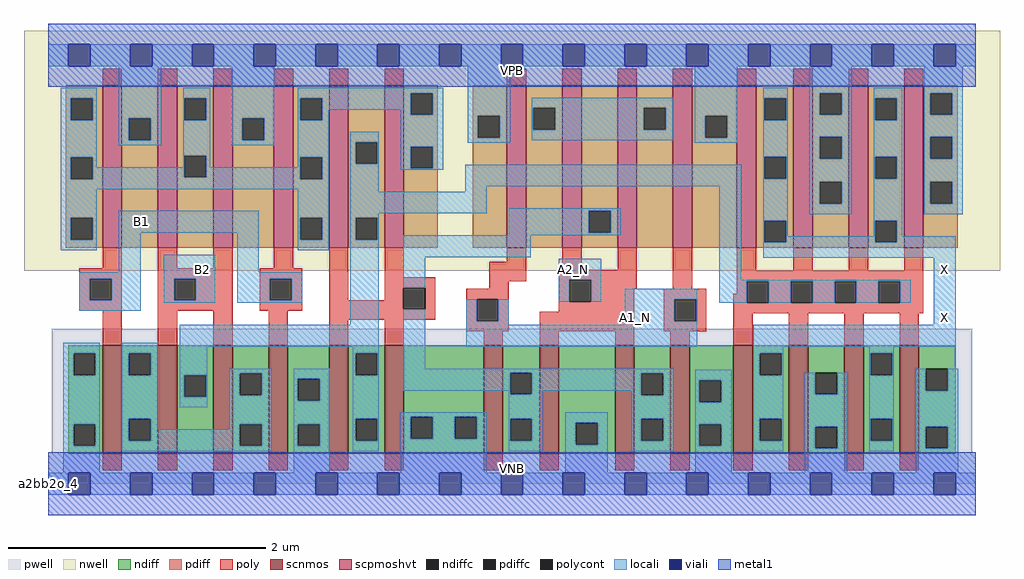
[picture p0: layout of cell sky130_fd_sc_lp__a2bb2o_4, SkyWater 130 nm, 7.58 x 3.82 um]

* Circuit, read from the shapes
.subckt sky130_fd_sc_lp__a2bb2o_4 A1_N A2_N B1 B2 VGND VNB VPB VPWR X
XM1 n1 B1 VGND VNB sky130_fd_pr__nfet_01v8 w=0.84 l=0.15 m=2
XM2 n2 B2 n1 VNB sky130_fd_pr__nfet_01v8 w=0.84 l=0.15 m=2
XM3 n2 n3 VGND VNB sky130_fd_pr__nfet_01v8 w=0.84 l=0.15 m=2
XM4 n3 A1_N VGND VNB sky130_fd_pr__nfet_01v8 w=0.84 l=0.15 m=2
XM5 VGND A2_N n3 VNB sky130_fd_pr__nfet_01v8 w=0.84 l=0.15 m=2
XM6 X n2 VGND VNB sky130_fd_pr__nfet_01v8 w=0.84 l=0.15 m=4
XM7 VPWR B1 n4 VPB sky130_fd_pr__pfet_01v8_hvt w=1.26 l=0.15 m=2
XM8 n4 B2 VPWR VPB sky130_fd_pr__pfet_01v8_hvt w=1.26 l=0.15 m=2
XM9 n2 n3 n4 VPB sky130_fd_pr__pfet_01v8_hvt w=1.26 l=0.15 m=2
XM10 n5 A1_N VPWR VPB sky130_fd_pr__pfet_01v8_hvt w=1.26 l=0.15 m=2
XM11 n3 A2_N n5 VPB sky130_fd_pr__pfet_01v8_hvt w=1.26 l=0.15 m=2
XM12 X n2 VPWR VPB sky130_fd_pr__pfet_01v8_hvt w=1.26 l=0.15 m=4
.ends

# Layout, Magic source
magic
tech sky130A
magscale 1 2
<< nwell >>
rect -38 331 1478 704
<< pwell >>
rect 5 49 1435 241
rect 0 0 1440 49
<< scnmos >>
rect 84 47 114 215
rect 170 47 200 215
rect 256 47 286 215
rect 342 47 372 215
rect 436 47 466 215
rect 522 47 552 215
rect 676 47 706 215
rect 763 47 793 215
rect 880 47 910 215
rect 966 47 996 215
rect 1064 47 1094 215
rect 1150 47 1180 215
rect 1236 47 1266 215
rect 1322 47 1352 215
<< scpmoshvt >>
rect 84 367 114 619
rect 170 367 200 619
rect 256 367 286 619
rect 350 367 380 619
rect 436 367 466 619
rect 522 367 552 619
rect 712 367 742 619
rect 798 367 828 619
rect 884 367 914 619
rect 970 367 1000 619
rect 1069 367 1099 619
rect 1157 367 1187 619
rect 1243 367 1273 619
rect 1329 367 1359 619
<< ndiff >>
rect 31 203 84 215
rect 31 169 39 203
rect 73 169 84 203
rect 31 93 84 169
rect 31 59 39 93
rect 73 59 84 93
rect 31 47 84 59
rect 114 203 170 215
rect 114 169 125 203
rect 159 169 170 203
rect 114 101 170 169
rect 114 67 125 101
rect 159 67 170 101
rect 114 47 170 67
rect 200 169 256 215
rect 200 135 211 169
rect 245 135 256 169
rect 200 47 256 135
rect 286 172 342 215
rect 286 138 297 172
rect 331 138 342 172
rect 286 93 342 138
rect 286 59 297 93
rect 331 59 342 93
rect 286 47 342 59
rect 372 163 436 215
rect 372 129 387 163
rect 421 129 436 163
rect 372 93 436 129
rect 372 59 387 93
rect 421 59 436 93
rect 372 47 436 59
rect 466 203 522 215
rect 466 169 477 203
rect 511 169 522 203
rect 466 101 522 169
rect 466 67 477 101
rect 511 67 522 101
rect 466 47 522 67
rect 552 104 676 215
rect 552 70 563 104
rect 597 70 631 104
rect 665 70 676 104
rect 552 47 676 70
rect 706 173 763 215
rect 706 139 717 173
rect 751 139 763 173
rect 706 101 763 139
rect 706 67 717 101
rect 751 67 763 101
rect 706 47 763 67
rect 793 95 880 215
rect 793 61 819 95
rect 853 61 880 95
rect 793 47 880 61
rect 910 172 966 215
rect 910 138 921 172
rect 955 138 966 172
rect 910 101 966 138
rect 910 67 921 101
rect 955 67 966 101
rect 910 47 966 67
rect 996 161 1064 215
rect 996 127 1011 161
rect 1045 127 1064 161
rect 996 93 1064 127
rect 996 59 1011 93
rect 1045 59 1064 93
rect 996 47 1064 59
rect 1094 203 1150 215
rect 1094 169 1105 203
rect 1139 169 1150 203
rect 1094 101 1150 169
rect 1094 67 1105 101
rect 1139 67 1150 101
rect 1094 47 1150 67
rect 1180 173 1236 215
rect 1180 139 1191 173
rect 1225 139 1236 173
rect 1180 89 1236 139
rect 1180 55 1191 89
rect 1225 55 1236 89
rect 1180 47 1236 55
rect 1266 203 1322 215
rect 1266 169 1277 203
rect 1311 169 1322 203
rect 1266 101 1322 169
rect 1266 67 1277 101
rect 1311 67 1322 101
rect 1266 47 1322 67
rect 1352 179 1409 215
rect 1352 145 1363 179
rect 1397 145 1409 179
rect 1352 89 1409 145
rect 1352 55 1363 89
rect 1397 55 1409 89
rect 1352 47 1409 55
<< pdiff >>
rect 27 599 84 619
rect 27 565 35 599
rect 69 565 84 599
rect 27 507 84 565
rect 27 473 35 507
rect 69 473 84 507
rect 27 413 84 473
rect 27 379 35 413
rect 69 379 84 413
rect 27 367 84 379
rect 114 568 170 619
rect 114 534 125 568
rect 159 534 170 568
rect 114 367 170 534
rect 200 599 256 619
rect 200 565 211 599
rect 245 565 256 599
rect 200 510 256 565
rect 200 476 211 510
rect 245 476 256 510
rect 200 367 256 476
rect 286 568 350 619
rect 286 534 301 568
rect 335 534 350 568
rect 286 367 350 534
rect 380 599 436 619
rect 380 565 391 599
rect 425 565 436 599
rect 380 507 436 565
rect 380 473 391 507
rect 425 473 436 507
rect 380 413 436 473
rect 380 379 391 413
rect 425 379 436 413
rect 380 367 436 379
rect 466 531 522 619
rect 466 497 477 531
rect 511 497 522 531
rect 466 413 522 497
rect 466 379 477 413
rect 511 379 522 413
rect 466 367 522 379
rect 552 607 605 619
rect 552 573 563 607
rect 597 573 605 607
rect 552 524 605 573
rect 552 490 563 524
rect 597 490 605 524
rect 552 367 605 490
rect 659 572 712 619
rect 659 538 667 572
rect 701 538 712 572
rect 659 367 712 538
rect 742 584 798 619
rect 742 550 753 584
rect 787 550 798 584
rect 742 367 798 550
rect 828 424 884 619
rect 828 390 839 424
rect 873 390 884 424
rect 828 367 884 390
rect 914 584 970 619
rect 914 550 925 584
rect 959 550 970 584
rect 914 367 970 550
rect 1000 572 1069 619
rect 1000 538 1020 572
rect 1054 538 1069 572
rect 1000 367 1069 538
rect 1099 599 1157 619
rect 1099 565 1112 599
rect 1146 565 1157 599
rect 1099 508 1157 565
rect 1099 474 1112 508
rect 1146 474 1157 508
rect 1099 409 1157 474
rect 1099 375 1112 409
rect 1146 375 1157 409
rect 1099 367 1157 375
rect 1187 607 1243 619
rect 1187 573 1198 607
rect 1232 573 1243 607
rect 1187 539 1243 573
rect 1187 505 1198 539
rect 1232 505 1243 539
rect 1187 469 1243 505
rect 1187 435 1198 469
rect 1232 435 1243 469
rect 1187 367 1243 435
rect 1273 599 1329 619
rect 1273 565 1284 599
rect 1318 565 1329 599
rect 1273 508 1329 565
rect 1273 474 1284 508
rect 1318 474 1329 508
rect 1273 409 1329 474
rect 1273 375 1284 409
rect 1318 375 1329 409
rect 1273 367 1329 375
rect 1359 607 1412 619
rect 1359 573 1370 607
rect 1404 573 1412 607
rect 1359 539 1412 573
rect 1359 505 1370 539
rect 1404 505 1412 539
rect 1359 469 1412 505
rect 1359 435 1370 469
rect 1404 435 1412 469
rect 1359 367 1412 435
<< ndiffc >>
rect 39 169 73 203
rect 39 59 73 93
rect 125 169 159 203
rect 125 67 159 101
rect 211 135 245 169
rect 297 138 331 172
rect 297 59 331 93
rect 387 129 421 163
rect 387 59 421 93
rect 477 169 511 203
rect 477 67 511 101
rect 563 70 597 104
rect 631 70 665 104
rect 717 139 751 173
rect 717 67 751 101
rect 819 61 853 95
rect 921 138 955 172
rect 921 67 955 101
rect 1011 127 1045 161
rect 1011 59 1045 93
rect 1105 169 1139 203
rect 1105 67 1139 101
rect 1191 139 1225 173
rect 1191 55 1225 89
rect 1277 169 1311 203
rect 1277 67 1311 101
rect 1363 145 1397 179
rect 1363 55 1397 89
<< pdiffc >>
rect 35 565 69 599
rect 35 473 69 507
rect 35 379 69 413
rect 125 534 159 568
rect 211 565 245 599
rect 211 476 245 510
rect 301 534 335 568
rect 391 565 425 599
rect 391 473 425 507
rect 391 379 425 413
rect 477 497 511 531
rect 477 379 511 413
rect 563 573 597 607
rect 563 490 597 524
rect 667 538 701 572
rect 753 550 787 584
rect 839 390 873 424
rect 925 550 959 584
rect 1020 538 1054 572
rect 1112 565 1146 599
rect 1112 474 1146 508
rect 1112 375 1146 409
rect 1198 573 1232 607
rect 1198 505 1232 539
rect 1198 435 1232 469
rect 1284 565 1318 599
rect 1284 474 1318 508
rect 1284 375 1318 409
rect 1370 573 1404 607
rect 1370 505 1404 539
rect 1370 435 1404 469
<< poly >>
rect 84 619 114 645
rect 170 619 200 645
rect 256 619 286 645
rect 350 619 380 645
rect 436 619 466 645
rect 522 619 552 645
rect 712 619 742 645
rect 798 619 828 645
rect 884 619 914 645
rect 970 619 1000 645
rect 1069 619 1099 645
rect 1157 619 1187 645
rect 1243 619 1273 645
rect 1329 619 1359 645
rect 84 335 114 367
rect 48 319 114 335
rect 48 285 64 319
rect 98 285 114 319
rect 48 269 114 285
rect 84 215 114 269
rect 170 335 200 367
rect 256 335 286 367
rect 350 335 380 367
rect 170 319 286 335
rect 170 285 195 319
rect 229 285 286 319
rect 170 269 286 285
rect 328 319 394 335
rect 328 285 344 319
rect 378 285 394 319
rect 328 269 394 285
rect 436 285 466 367
rect 522 321 552 367
rect 712 345 742 367
rect 522 305 601 321
rect 522 285 551 305
rect 436 271 551 285
rect 585 271 601 305
rect 685 315 742 345
rect 798 333 828 367
rect 884 333 914 367
rect 793 317 914 333
rect 685 303 715 315
rect 170 215 200 269
rect 256 215 286 269
rect 342 215 372 269
rect 436 255 601 271
rect 649 287 715 303
rect 436 215 466 255
rect 522 215 552 255
rect 649 253 665 287
rect 699 253 715 287
rect 793 283 809 317
rect 843 303 914 317
rect 970 303 1000 367
rect 1069 331 1099 367
rect 1157 331 1187 367
rect 1243 331 1273 367
rect 1329 331 1359 367
rect 1069 315 1359 331
rect 843 283 910 303
rect 793 267 910 283
rect 649 237 715 253
rect 763 237 910 267
rect 956 287 1022 303
rect 1069 295 1085 315
rect 956 253 972 287
rect 1006 253 1022 287
rect 956 237 1022 253
rect 1064 281 1085 295
rect 1119 281 1153 315
rect 1187 281 1221 315
rect 1255 281 1289 315
rect 1323 281 1359 315
rect 1064 265 1359 281
rect 676 215 706 237
rect 763 215 793 237
rect 880 215 910 237
rect 966 215 996 237
rect 1064 215 1094 265
rect 1150 215 1180 265
rect 1236 215 1266 265
rect 1322 215 1352 265
rect 84 21 114 47
rect 170 21 200 47
rect 256 21 286 47
rect 342 21 372 47
rect 436 21 466 47
rect 522 21 552 47
rect 676 21 706 47
rect 763 21 793 47
rect 880 21 910 47
rect 966 21 996 47
rect 1064 21 1094 47
rect 1150 21 1180 47
rect 1236 21 1266 47
rect 1322 21 1352 47
<< polycont >>
rect 64 285 98 319
rect 195 285 229 319
rect 344 285 378 319
rect 551 271 585 305
rect 665 253 699 287
rect 809 283 843 317
rect 972 253 1006 287
rect 1085 281 1119 315
rect 1153 281 1187 315
rect 1221 281 1255 315
rect 1289 281 1323 315
<< locali >>
rect 0 649 31 683
rect 65 649 127 683
rect 161 649 223 683
rect 257 649 319 683
rect 353 649 415 683
rect 449 649 511 683
rect 545 649 607 683
rect 641 649 703 683
rect 737 649 799 683
rect 833 649 895 683
rect 929 649 991 683
rect 1025 649 1087 683
rect 1121 649 1183 683
rect 1217 649 1279 683
rect 1313 649 1375 683
rect 1409 649 1440 683
rect 19 599 75 615
rect 19 565 35 599
rect 69 565 75 599
rect 19 507 75 565
rect 109 568 175 649
rect 109 534 125 568
rect 159 534 175 568
rect 109 526 175 534
rect 209 599 251 615
rect 209 565 211 599
rect 245 565 251 599
rect 19 473 35 507
rect 69 492 75 507
rect 209 510 251 565
rect 285 568 351 649
rect 285 534 301 568
rect 335 534 351 568
rect 285 526 351 534
rect 387 607 613 615
rect 387 599 563 607
rect 387 565 391 599
rect 425 581 563 599
rect 425 565 435 581
rect 209 492 211 510
rect 69 476 211 492
rect 245 492 251 510
rect 387 507 435 565
rect 547 573 563 581
rect 597 573 613 607
rect 387 492 391 507
rect 245 476 391 492
rect 69 473 391 476
rect 425 473 435 507
rect 19 458 435 473
rect 19 413 75 458
rect 19 379 35 413
rect 69 379 75 413
rect 19 363 75 379
rect 109 390 327 424
rect 109 329 143 390
rect 48 319 143 329
rect 48 285 64 319
rect 98 285 143 319
rect 48 269 143 285
rect 179 319 259 356
rect 179 285 195 319
rect 229 285 259 319
rect 179 281 259 285
rect 293 329 327 390
rect 387 413 435 458
rect 387 379 391 413
rect 425 379 435 413
rect 387 363 435 379
rect 469 531 513 547
rect 469 497 477 531
rect 511 497 513 531
rect 469 454 513 497
rect 547 524 613 573
rect 651 572 717 649
rect 651 538 667 572
rect 701 538 717 572
rect 651 530 717 538
rect 751 584 970 600
rect 751 550 753 584
rect 787 550 925 584
rect 959 550 970 584
rect 751 534 970 550
rect 1004 572 1070 649
rect 1004 538 1020 572
rect 1054 538 1070 572
rect 1004 530 1070 538
rect 1110 599 1148 615
rect 1110 565 1112 599
rect 1146 565 1148 599
rect 547 490 563 524
rect 597 490 613 524
rect 1110 508 1148 565
rect 547 488 613 490
rect 647 462 1076 496
rect 647 454 681 462
rect 469 420 681 454
rect 715 424 889 428
rect 469 413 513 420
rect 469 379 477 413
rect 511 379 513 413
rect 715 390 839 424
rect 873 390 889 424
rect 715 386 889 390
rect 293 319 394 329
rect 293 285 344 319
rect 378 285 394 319
rect 293 281 394 285
rect 469 247 513 379
rect 23 203 80 219
rect 23 169 39 203
rect 73 169 80 203
rect 23 93 80 169
rect 23 59 39 93
rect 73 59 80 93
rect 23 17 80 59
rect 114 203 170 219
rect 114 169 125 203
rect 159 169 170 203
rect 114 101 170 169
rect 204 213 513 247
rect 204 169 247 213
rect 473 203 513 213
rect 204 135 211 169
rect 245 135 247 169
rect 204 119 247 135
rect 281 172 347 179
rect 281 138 297 172
rect 331 138 347 172
rect 114 67 125 101
rect 159 85 170 101
rect 281 93 347 138
rect 281 85 297 93
rect 159 67 297 85
rect 114 59 297 67
rect 331 59 347 93
rect 114 51 347 59
rect 381 163 437 179
rect 381 129 387 163
rect 421 129 437 163
rect 381 93 437 129
rect 381 59 387 93
rect 421 59 437 93
rect 381 17 437 59
rect 473 169 477 203
rect 511 169 513 203
rect 473 101 513 169
rect 551 352 749 386
rect 551 305 585 352
rect 793 317 859 350
rect 551 179 585 271
rect 649 253 665 287
rect 699 253 715 287
rect 793 283 809 317
rect 843 283 859 317
rect 1042 317 1076 462
rect 1110 474 1112 508
rect 1146 474 1148 508
rect 1110 409 1148 474
rect 1182 607 1248 649
rect 1182 573 1198 607
rect 1232 573 1248 607
rect 1182 539 1248 573
rect 1182 505 1198 539
rect 1232 505 1248 539
rect 1182 469 1248 505
rect 1182 435 1198 469
rect 1232 435 1248 469
rect 1182 419 1248 435
rect 1282 599 1326 615
rect 1282 565 1284 599
rect 1318 565 1326 599
rect 1282 508 1326 565
rect 1282 474 1284 508
rect 1318 474 1326 508
rect 1110 375 1112 409
rect 1146 385 1148 409
rect 1282 409 1326 474
rect 1360 607 1420 649
rect 1360 573 1370 607
rect 1404 573 1420 607
rect 1360 539 1420 573
rect 1360 505 1370 539
rect 1404 505 1420 539
rect 1360 469 1420 505
rect 1360 435 1370 469
rect 1404 435 1420 469
rect 1360 419 1420 435
rect 1282 385 1284 409
rect 1146 375 1284 385
rect 1318 385 1326 409
rect 1318 375 1409 385
rect 1110 351 1409 375
rect 1042 315 1339 317
rect 895 287 1008 303
rect 649 247 715 253
rect 895 253 972 287
rect 1006 253 1008 287
rect 1042 281 1085 315
rect 1119 281 1153 315
rect 1187 281 1221 315
rect 1255 281 1289 315
rect 1323 281 1339 315
rect 895 247 1008 253
rect 1375 247 1409 351
rect 649 213 1008 247
rect 1095 213 1409 247
rect 1095 203 1141 213
rect 551 173 971 179
rect 551 145 717 173
rect 715 139 717 145
rect 751 172 971 173
rect 751 145 921 172
rect 751 139 767 145
rect 473 67 477 101
rect 511 67 513 101
rect 473 51 513 67
rect 547 104 681 111
rect 547 70 563 104
rect 597 70 631 104
rect 665 70 681 104
rect 547 17 681 70
rect 715 101 767 139
rect 905 138 921 145
rect 955 138 971 172
rect 715 67 717 101
rect 751 67 767 101
rect 715 51 767 67
rect 803 95 869 111
rect 803 61 819 95
rect 853 61 869 95
rect 803 17 869 61
rect 905 101 971 138
rect 905 67 921 101
rect 955 67 971 101
rect 905 51 971 67
rect 1005 161 1061 177
rect 1005 127 1011 161
rect 1045 127 1061 161
rect 1005 93 1061 127
rect 1005 59 1011 93
rect 1045 59 1061 93
rect 1005 17 1061 59
rect 1095 169 1105 203
rect 1139 169 1141 203
rect 1275 203 1313 213
rect 1095 101 1141 169
rect 1095 67 1105 101
rect 1139 67 1141 101
rect 1095 51 1141 67
rect 1175 139 1191 173
rect 1225 139 1241 173
rect 1175 89 1241 139
rect 1175 55 1191 89
rect 1225 55 1241 89
rect 1175 17 1241 55
rect 1275 169 1277 203
rect 1311 169 1313 203
rect 1275 101 1313 169
rect 1275 67 1277 101
rect 1311 67 1313 101
rect 1275 51 1313 67
rect 1347 145 1363 179
rect 1397 145 1413 179
rect 1347 89 1413 145
rect 1347 55 1363 89
rect 1397 55 1413 89
rect 1347 17 1413 55
rect 0 -17 31 17
rect 65 -17 127 17
rect 161 -17 223 17
rect 257 -17 319 17
rect 353 -17 415 17
rect 449 -17 511 17
rect 545 -17 607 17
rect 641 -17 703 17
rect 737 -17 799 17
rect 833 -17 895 17
rect 929 -17 991 17
rect 1025 -17 1087 17
rect 1121 -17 1183 17
rect 1217 -17 1279 17
rect 1313 -17 1375 17
rect 1409 -17 1440 17
<< viali >>
rect 31 649 65 683
rect 127 649 161 683
rect 223 649 257 683
rect 319 649 353 683
rect 415 649 449 683
rect 511 649 545 683
rect 607 649 641 683
rect 703 649 737 683
rect 799 649 833 683
rect 895 649 929 683
rect 991 649 1025 683
rect 1087 649 1121 683
rect 1183 649 1217 683
rect 1279 649 1313 683
rect 1375 649 1409 683
rect 31 -17 65 17
rect 127 -17 161 17
rect 223 -17 257 17
rect 319 -17 353 17
rect 415 -17 449 17
rect 511 -17 545 17
rect 607 -17 641 17
rect 703 -17 737 17
rect 799 -17 833 17
rect 895 -17 929 17
rect 991 -17 1025 17
rect 1087 -17 1121 17
rect 1183 -17 1217 17
rect 1279 -17 1313 17
rect 1375 -17 1409 17
<< metal1 >>
rect 0 683 1440 715
rect 0 649 31 683
rect 65 649 127 683
rect 161 649 223 683
rect 257 649 319 683
rect 353 649 415 683
rect 449 649 511 683
rect 545 649 607 683
rect 641 649 703 683
rect 737 649 799 683
rect 833 649 895 683
rect 929 649 991 683
rect 1025 649 1087 683
rect 1121 649 1183 683
rect 1217 649 1279 683
rect 1313 649 1375 683
rect 1409 649 1440 683
rect 0 617 1440 649
rect 0 17 1440 49
rect 0 -17 31 17
rect 65 -17 127 17
rect 161 -17 223 17
rect 257 -17 319 17
rect 353 -17 415 17
rect 449 -17 511 17
rect 545 -17 607 17
rect 641 -17 703 17
rect 737 -17 799 17
rect 833 -17 895 17
rect 929 -17 991 17
rect 1025 -17 1087 17
rect 1121 -17 1183 17
rect 1217 -17 1279 17
rect 1313 -17 1375 17
rect 1409 -17 1440 17
rect 0 -49 1440 -17
<< labels >>
flabel pwell s 0 0 1440 49 0 FreeSans 200 0 0 0 VNB
port 6 nsew ground bidirectional
flabel nwell s 0 617 1440 666 0 FreeSans 200 0 0 0 VPB
port 7 nsew power bidirectional
rlabel comment s 0 0 0 0 4 a2bb2o_4
flabel metal1 s 0 617 1440 666 0 FreeSans 340 0 0 0 VPWR
port 8 nsew power bidirectional
flabel metal1 s 0 0 1440 49 0 FreeSans 340 0 0 0 VGND
port 5 nsew ground bidirectional
flabel locali s 895 242 929 276 0 FreeSans 340 0 0 0 A1_N
port 1 nsew signal input
flabel locali s 127 390 161 424 0 FreeSans 340 0 0 0 B1
port 3 nsew signal input
flabel locali s 223 316 257 350 0 FreeSans 340 0 0 0 B2
port 4 nsew signal input
flabel locali s 799 316 833 350 0 FreeSans 340 0 0 0 A2_N
port 2 nsew signal input
flabel locali s 1375 242 1409 276 0 FreeSans 340 0 0 0 X
port 9 nsew signal output
flabel locali s 1375 316 1409 350 0 FreeSans 340 0 0 0 X
port 9 nsew signal output
<< properties >>
string LEFsite unit
string LEFclass CORE
string FIXED_BBOX 0 0 1440 666
string GDS_FILE $PDKPATH/libs.ref/sky130_fd_sc_lp/gds/sky130_fd_sc_lp.gds
string LEFsymmetry X Y R90
string GDS_END 6017308
string GDS_START 6005574
<< end >>
